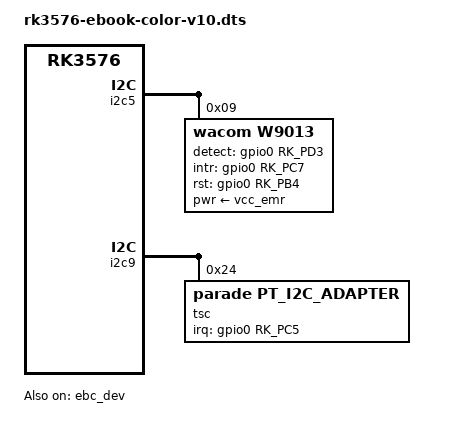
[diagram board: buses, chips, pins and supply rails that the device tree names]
// SPDX-License-Identifier: (GPL-2.0+ OR MIT)
/*
 * Copyright (c) 2024 Rockchip Electronics Co., Ltd.
 *
 */

/dts-v1/;

#include "rk3576-ebook-v10.dts"

&ebc_dev {
	pmic = <&sy7636a>;
	status = "okay";

	/* EC103KH3 panel */
	panel,width = <2480>;
	panel,height = <1860>;
	panel,vir_width = <2496>;
	panel,vir_height = <1944>;
	panel,sdck = <60000000>;
	panel,lsl = <64>;
	panel,lbl = <20>;
	panel,ldl = <312>;
	panel,lel = <22>;
	panel,gdck-sta = <1>;
	panel,lgonl = <252>;
	panel,fsl = <1>;
	panel,fbl = <4>;
	panel,fdl = <1944>;
	panel,fel = <16>;
	panel,mirror = <0>;
	panel,panel_16bit = <1>;

	//panel_color defined for user space
	//grayscale screen
	//RKCFA_PLAT_COMMON   = 0,
	//corlor screen
	//RKCFA_PLAT_EC060KC1 = 1,
	//RKCFA_PLAT_EC060KH3 = 2,
	//RKCFA_PLAT_EC060KH4 = 3,
	//RKCFA_PLAT_EC070KC1 = 4,
	//RKCFA_PLAT_EC078KH3 = 5,
	//RKCFA_PLAT_EC078KH6 = 6,
	//RKCFA_PLAT_EC103KH3 = 7,
	panel,panel_color = <7>;

	panel,sdoe_mode = <1>;
	panel,sdce_width = <1>;
	panel,width-mm = <166>;
	panel,height-mm = <210>;
	panel,disable_logo = <1>;
};

&i2c5 {
	status = "okay";
	pinctrl-names = "default";
	pinctrl-0 = <&i2c5m2_xfer>;

	wacom: wacom@9 {
		compatible = "wacom,w9013";
		reg = <0x09>;
		pwr-supply = <&vcc_emr>;
		pinctrl-names = "default";
		pinctrl-0 = <&wacom_gpio>;
		gpio_detect = <&gpio0 RK_PD3 GPIO_ACTIVE_HIGH>;
		gpio_intr = <&gpio0 RK_PC7 GPIO_ACTIVE_HIGH>;
		gpio_rst = <&gpio0 RK_PB4 GPIO_ACTIVE_HIGH>;
		revert_x = <0>;
		revert_y = <1>;
		xy_exchange = <1>;
	};
};

&i2c9 {
	status = "okay";
	pinctrl-names = "default";
	pinctrl-0 = <&i2c9m2_xfer>;

	focaltech: focaltech@38 {
		status = "disabled";
		compatible = "rockchip,fts_ts";
		reg = <0x38>;
		power-supply = <&vcc_emr>;
		pinctrl-names = "default";
		pinctrl-0 = <&touch_gpio>;
		t_irq_gpio = <&gpio0 RK_PC5 IRQ_TYPE_LEVEL_LOW>;
		t_rst_gpio = <&gpio0 RK_PD0 GPIO_ACTIVE_HIGH>;
		focaltech,display-coords =  <0 0 1404 1872>;
		focaltech,have-key;
		focaltech,key-number = <1>;
		focaltech,keys = <158>;
		focaltech,key-x-coords = <2000>;
		focaltech,key-y-coords = <2000>;
	};

	tsc@24 {
		status = "okay";
		compatible = "parade,pt_i2c_adapter";
		reg = <0x24>;
		interrupt-parent = <&gpio0>;
		interrupts = <RK_PC5 IRQ_TYPE_LEVEL_LOW>;
		parade,adapter_id = "pt_i2c_adapter";
		pinctrl-names = "default";
		pinctrl-0 = <&touch_gpio>;

		parade,core {
			parade,name = "pt_core";

			parade,irq_gpio = <&gpio0 RK_PC5 GPIO_ACTIVE_HIGH>;
			parade,rst_gpio = <&gpio0 RK_PD0 GPIO_ACTIVE_HIGH>;
			/*parade,runfw_gpio = <64>;*/
			parade,hid_desc_register = <1>;
			/*
			 * PT_CORE_FLAG_NONE = 0x00
			 * PT_CORE_FLAG_POWEROFF_ON_SLEEP = 0x02
			 * PT_CORE_FLAG_RESTORE_PARAMETERS = 0x04
			 * PT_CORE_FLAG_DEEP_STANDBY = 0x08
			 * PT_CORE_FLAG_SKIP_SYS_SLEEP = 0x10
			 * PT_CORE_FLAG_SKIP_RUNTIME = 0x20
			 * PT_CORE_FLAG_SKIP_RESUME = 0x40
			 */
			parade,flags = <4>;
			/* PT_CORE_EWG_NONE */
			parade,easy_wakeup_gesture = <0>;
			/* 0:AUTO 1:PIP1_ONLY 2:PIP2_CAPABLE*/
			parade,config_dut_generation = <2>;
			/* 0:False 1:True*/
			parade,watchdog_force_stop = <0>;
			/*
			 * PT_PANEL_ID_DISABLE = 0x00
			 * PT_PANEL_ID_BY_BL = 0x01
			 * PT_PANEL_ID_BY_SYS_INFO = 0x02
			 * PT_PANEL_ID_BY_MFG_DATA  = 0x04
			 */
			parade,panel_id_support = <0>;
			parade,btn_keys = <172 /* KEY_HOMEPAGE */
				/* previously was KEY_HOME, new Android versions use KEY_HOMEPAGE */
				139 /* KEY_MENU */
				158 /* KEY_BACK */
				217 /* KEY_SEARCH */
				114 /* KEY_VOLUMEDOWN */
				115 /* KEY_VOLUMEUP */
				212 /* KEY_CAMERA */
				116>; /* KEY_POWER */
			parade,btn_keys-tag = <0>;

			parade,mt {
				parade,name = "pt_mt";

				parade,inp_dev_name = "pt_mt";
				/*
				 * PT_MT_FLAG_NONE = 0x00
				 * PT_MT_FLAG_FLIP = 0x08
				 * PT_MT_FLAG_INV_X = 0x10
				 * PT_MT_FLAG_INV_Y = 0x20
				 * PT_MT_FLAG_VKEYS = 0x40
				 */
				parade,flags = <0x20>;
				parade,abs =
					/* ABS_MT_POSITION_X, PT_ABS_MIN_X, PT_ABS_MAX_X, 0, 0 */
					<0x35 0 880 0 0
					/* ABS_MT_POSITION_Y, PT_ABS_MIN_Y, PT_ABS_MAX_Y, 0, 0 */
					0x36 0 1280 0 0
					/* ABS_MT_PRESSURE, PT_ABS_MIN_P, PT_ABS_MAX_P, 0, 0 */
					0x3a 0 255 0 0
					/* PT_IGNORE_VALUE, PT_ABS_MIN_W, PT_ABS_MAX_W, 0, 0 */
					0xffff 0 255 0 0
					/* ABS_MT_TRACKING_ID, PT_ABS_MIN_T, PT_ABS_MAX_T, 0, 0 */
					0x39 0 15 0 0
					/* ABS_MT_TOUCH_MAJOR, 0, 255, 0, 0 */
					0x30 0 255 0 0
					/* ABS_MT_TOUCH_MINOR, 0, 255, 0, 0 */
					0x31 0 255 0 0
					/* ABS_MT_ORIENTATION, -127, 127, 0, 0 */
					0x34 0xffffff81 127 0 0
					/* ABS_MT_TOOL_TYPE, 0, MT_TOOL_MAX, 0, 0 */
					0x37 0 1 0 0
					/* ABS_DISTANCE, 0, 255, 0, 0 */
					0x19 0 255 0 0>;

				parade,vkeys_x = <720>;
				parade,vkeys_y = <1280>;

				parade,virtual_keys = /* KeyCode CenterX CenterY Width Height */
					/* KEY_BACK */
					<158 90 1360 160 180
					/* KEY_MENU */
					139 270 1360 160 180
					/* KEY_HOMEPAGE */
					172 450 1360 160 180
					/* KEY SEARCH */
					217 630 1360 160 180>;
			};
		};
	};
};
